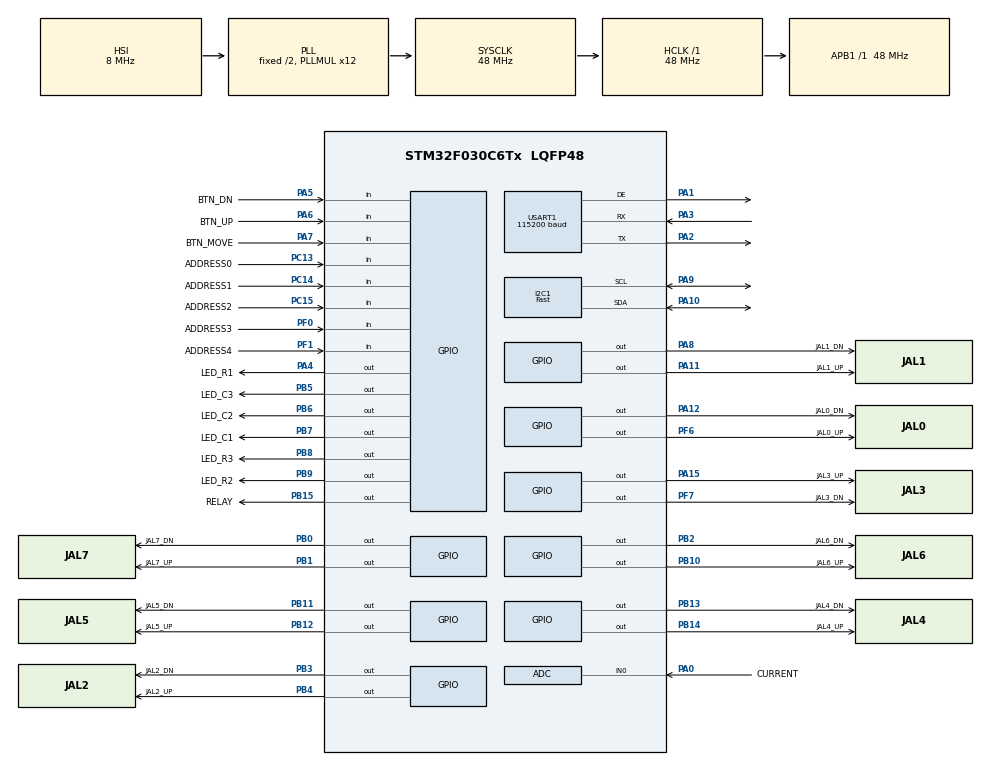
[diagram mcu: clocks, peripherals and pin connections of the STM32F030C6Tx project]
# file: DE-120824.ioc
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I2C1.I2C_Speed_Mode=I2C_Fast
I2C1.Timing=0x0010020A
Mcu.Family=STM32F0
Mcu.Name=STM32F030C6Tx
Mcu.Package=LQFP48
NVIC.TIM14_IRQn=true\:0\:0\:false\:false\:true\:true\:true\:true
NVIC.USART1_IRQn=true\:0\:0\:false\:false\:true\:true\:true\:true
PA0.GPIO_Label=CURRENT
PA0.Mode=IN0
PA0.Signal=ADC_IN0
PA1.Mode=Hardware Flow Control (RS485)
PA1.Signal=USART1_DE
PA10.Mode=I2C
PA10.Signal=I2C1_SDA
PA11.GPIO_Label=JAL1_UP
PA11.Signal=GPIO_Output
PA12.GPIO_Label=JAL0_DN
PA12.Signal=GPIO_Output
PA13.Mode=Serial_Wire
PA13.Signal=SYS_SWDIO
PA14.Mode=Serial_Wire
PA14.Signal=SYS_SWCLK
PA15.GPIO_Label=JAL3_UP
PA15.Signal=GPIO_Output
PA2.Mode=Asynchronous
PA2.Signal=USART1_TX
PA3.Mode=Asynchronous
PA3.Signal=USART1_RX
PA4.GPIO_Label=LED_R1
PA4.Signal=GPIO_Output
PA5.GPIO_Label=BTN_DN
PA5.GPIO_PuPd=GPIO_PULLUP
PA5.Signal=GPIO_Input
PA6.GPIO_Label=BTN_UP
PA6.GPIO_PuPd=GPIO_PULLUP
PA6.Signal=GPIO_Input
PA7.GPIO_Label=BTN_MOVE
PA7.GPIO_PuPd=GPIO_PULLUP
PA7.Signal=GPIO_Input
PA8.GPIO_Label=JAL1_DN
PA8.Signal=GPIO_Output
PA9.Mode=I2C
PA9.Signal=I2C1_SCL
PB0.GPIO_Label=JAL7_DN
PB0.Signal=GPIO_Output
PB1.GPIO_Label=JAL7_UP
PB1.Signal=GPIO_Output
PB10.GPIO_Label=JAL6_UP
PB10.Signal=GPIO_Output
PB11.GPIO_Label=JAL5_DN
PB11.Signal=GPIO_Output
PB12.GPIO_Label=JAL5_UP
PB12.Signal=GPIO_Output
PB13.GPIO_Label=JAL4_DN
PB13.Signal=GPIO_Output
PB14.GPIO_Label=JAL4_UP
PB14.Signal=GPIO_Output
PB15.GPIO_Label=RELAY
PB15.Signal=GPIO_Output
PB2.GPIO_Label=JAL6_DN
PB2.Signal=GPIO_Output
PB3.GPIO_Label=JAL2_DN
PB3.Signal=GPIO_Output
PB4.GPIO_Label=JAL2_UP
PB4.Signal=GPIO_Output
PB5.GPIO_Label=LED_C3
PB5.Signal=GPIO_Output
PB6.GPIO_Label=LED_C2
PB6.Signal=GPIO_Output
PB7.GPIO_Label=LED_C1
PB7.Signal=GPIO_Output
PB8.GPIO_Label=LED_R3
PB8.Signal=GPIO_Output
PB9.GPIO_Label=LED_R2
PB9.Signal=GPIO_Output
PC13.GPIO_Label=ADDRESS0
PC13.GPIO_PuPd=GPIO_PULLUP
PC13.Signal=GPIO_Input
PC14-OSC32_IN.GPIO_Label=ADDRESS1
PC14-OSC32_IN.GPIO_PuPd=GPIO_PULLUP
PC14-OSC32_IN.Signal=GPIO_Input
PC15-OSC32_OUT.GPIO_Label=ADDRESS2
PC15-OSC32_OUT.GPIO_PuPd=GPIO_PULLUP
PC15-OSC32_OUT.Signal=GPIO_Input
PF0-OSC_IN.GPIO_Label=ADDRESS3
PF0-OSC_IN.GPIO_PuPd=GPIO_PULLUP
PF0-OSC_IN.Signal=GPIO_Input
PF1-OSC_OUT.GPIO_Label=ADDRESS4
PF1-OSC_OUT.GPIO_PuPd=GPIO_PULLUP
PF1-OSC_OUT.Signal=GPIO_Input
PF6.GPIO_Label=JAL0_UP
PF6.Signal=GPIO_Output
PF7.GPIO_Label=JAL3_DN
PF7.Signal=GPIO_Output
ProjectManager.HeapSize=0x200
ProjectManager.StackSize=0x400
ProjectManager.TargetToolchain=MDK-ARM V5.32
RCC.AHBFreq_Value=48000000
RCC.APB1Freq_Value=48000000
RCC.APB1TimFreq_Value=48000000
RCC.HCLKFreq_Value=48000000
RCC.PLLMUL=RCC_PLL_MUL12
RCC.SYSCLKFreq_VALUE=48000000
RCC.SYSCLKSource=RCC_SYSCLKSOURCE_PLLCLK
TIM14.Period=5 - 1
TIM14.Prescaler=48000 - 1
USART1.BaudRate=115200
USART1.VirtualMode-Asynchronous=VM_ASYNC
USART1.VirtualMode-Hardware\ Flow\ Control\ (RS485)=VM_ASYNC
VP_IWDG_VS_IWDG.Mode=IWDG_Activate
VP_TIM14_VS_ClockSourceINT.Mode=Enable_Timer
board=custom

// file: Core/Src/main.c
/* USER CODE BEGIN Header */
/**
  ******************************************************************************
  * @file           : main.c
  * @brief          : Main program body
  ******************************************************************************
  * @attention
  *
  * Copyright (c) 2025 STMicroelectronics.
  * All rights reserved.
  *
  * This software is licensed under terms that can be found in the LICENSE file
  * in the root directory of this software component.
  * If no LICENSE file comes with this software, it is provided AS-IS.
  *
  ******************************************************************************
  */
/* USER CODE END Header */
#include "main.h"

/* USER CODE BEGIN Includes */
#include <stdio.h>
#include <string.h>
#include <stdarg.h>
#include <stdlib.h>
/* USER CODE END Includes */

/* USER CODE BEGIN PD */
// Definicije pinova
#define LED_ROWS 3
#define LED_COLS 3

// Definicije pinova
#define LED_R1_Pin GPIO_PIN_4
#define LED_R1_GPIO_Port GPIOA
#define LED_R2_Pin GPIO_PIN_9
#define LED_R2_GPIO_Port GPIOB
#define LED_R3_Pin GPIO_PIN_8
#define LED_R3_GPIO_Port GPIOB

#define LED_C1_Pin GPIO_PIN_7
#define LED_C1_GPIO_Port GPIOB
#define LED_C2_Pin GPIO_PIN_6
#define LED_C2_GPIO_Port GPIOB
#define LED_C3_Pin GPIO_PIN_5
#define LED_C3_GPIO_Port GPIOB

#define JALOUSIE_COUNT 8
#define TIMEOUT_DEFAULT 30000  // 30 sekundi u milisekundama
#define NUMBER_OF_JALOUSIE 8
#define LED_COUNT 9
#define SNAKE_LENGTH 43 // Du�ina zmije
#define SNAKE_SPEED 20   // Brzina zmije (veca vrednost = sporije)
#define MENU_TIMEOUT    10000 // 10 sekundi timeout
#define BUTTON_PAUSE    200 // dodatni debouncing
#define TOGGLE_INTERVAL 50 // Period treptanja LED
#define EEPROM_I2C_ADDR  0xA0  // Prilagodi prema tvojoj EEPROM adresi
#define EEPROM_TIMEOUT   100   // Timeout za I2C operacije
#define EEPROM_START_ADDR 0x00 // Početna adresa u EEPROM-u
/* USER CODE END PD */

ADC_HandleTypeDef hadc;

I2C_HandleTypeDef hi2c1;

IWDG_HandleTypeDef hiwdg;

TIM_HandleTypeDef htim14;

UART_HandleTypeDef huart1;

/* USER CODE BEGIN PV */

uint8_t jalousie[JALOUSIE_COUNT] = {0};           // Status žaluzina
uint32_t jalousie_tmr[JALOUSIE_COUNT] = {0};      // Tajmeri žaluzina
uint32_t jalousie_timeout[JALOUSIE_COUNT] = {TIMEOUT_DEFAULT, TIMEOUT_DEFAULT, TIMEOUT_DEFAULT, TIMEOUT_DEFAULT,
                                             TIMEOUT_DEFAULT, TIMEOUT_DEFAULT, TIMEOUT_DEFAULT, TIMEOUT_DEFAULT
                                            };

// Definicije GPIO izlaza za UP i DOWN
GPIO_TypeDef* jalousie_ports_up[JALOUSIE_COUNT] = {JAL0_UP_GPIO_Port, JAL1_UP_GPIO_Port, JAL2_UP_GPIO_Port, JAL3_UP_GPIO_Port,
                                                   JAL4_UP_GPIO_Port, JAL5_UP_GPIO_Port, JAL6_UP_GPIO_Port, JAL7_UP_GPIO_Port
                                                  };
uint16_t jalousie_pins_up[JALOUSIE_COUNT] = {JAL0_UP_Pin, JAL1_UP_Pin, JAL2_UP_Pin, JAL3_UP_Pin,
                                             JAL4_UP_Pin, JAL5_UP_Pin, JAL6_UP_Pin, JAL7_UP_Pin
                                            };

GPIO_TypeDef* jalousie_ports_down[JALOUSIE_COUNT] = {JAL0_DN_GPIO_Port, JAL1_DN_GPIO_Port, JAL2_DN_GPIO_Port, JAL3_DN_GPIO_Port,
                                                     JAL4_DN_GPIO_Port, JAL5_DN_GPIO_Port, JAL6_DN_GPIO_Port, JAL7_DN_GPIO_Port
                                                    };
uint16_t jalousie_pins_down[JALOUSIE_COUNT] = {JAL0_DN_Pin, JAL1_DN_Pin, JAL2_DN_Pin, JAL3_DN_Pin,
                                               JAL4_DN_Pin, JAL5_DN_Pin, JAL6_DN_Pin, JAL7_DN_Pin
                                              };

uint8_t led_state[LED_ROWS * LED_COLS] = {0};
uint8_t active_row = 0;

static uint8_t snake_head = 0;  // Trenutna glava zmije
static uint8_t snake_counter = 0;  // Brojac za usporavanje

volatile uint32_t menu_timer = 0;
volatile uint32_t last_toggle_time = 0;
volatile uint8_t toggle_state = 0;
volatile uint8_t menu_activ = 0;
volatile uint8_t selected_channel = NUMBER_OF_JALOUSIE - 1;
uint8_t button_select_prev = 0, button_up_prev = 0, button_down_prev = 0;
static uint8_t my_address = 0;
static uint8_t first_toggle = 1;
static uint16_t jalousie_start = 0;
static uint16_t jalousie_end = 0;
static uint8_t eesta = 0;
bool ee_save_flag = false;
uint8_t rec;
TinyFrame tfapp;
bool init_tf = false;
bool reset = false;
/* USER CODE END PV */

void SystemClock_Config(void);
static void MX_GPIO_Init(void);
static void MX_ADC_Init(void);
static void MX_I2C1_Init(void);
static void MX_IWDG_Init(void);
static void MX_USART1_UART_Init(void);
static void MX_TIM14_Init(void);
/* USER CODE BEGIN PFP */
static void RS485_Init(void);
static uint8_t ee_save(void);
static uint8_t ee_load(void);
static void ee_check(void);
/* USER CODE END PFP */

/* USER CODE BEGIN 0 */
/**
  * @brief  sačuvaj sve timoute u eeprom
  * @param
  * @retval 0 = uspješno / 1 = neuspješno, ako je neuspješno i eesta flag se setuje
  */
static uint8_t ee_save(void)
{
    uint8_t temp_value;

    for (uint8_t i = 0; i < JALOUSIE_COUNT; i++) {
        temp_value = (uint8_t)(jalousie_timeout[i] / 1000); // Konverzija u sekunde
        if (HAL_I2C_Mem_Write(&hi2c1, EEPROM_I2C_ADDR, EEPROM_START_ADDR + i, I2C_MEMADD_SIZE_8BIT, &temp_value, 1, EEPROM_TIMEOUT) != HAL_OK) {
            eesta = 1; // Greška pri upisu,nevalja eeprom, neki log ili retry mehanizam
            return 1;
        }
        HAL_Delay(10); // EEPROM često zahteva kratku pauzu nakon pisanja
    }
    return 0;
}
/**
  * @brief  kopiraj timout-e iz memorisanih u eeprom-u
  * @param
  * @retval 0 = uspješno / 1 = neuspješno, ako je neuspješno i eesta flag se setuje
  */
static uint8_t ee_load(void)
{
    uint8_t temp_value;

    for (uint8_t i = 0; i < JALOUSIE_COUNT; i++) {
        if (HAL_I2C_Mem_Read(&hi2c1, EEPROM_I2C_ADDR, EEPROM_START_ADDR + i, I2C_MEMADD_SIZE_8BIT, &temp_value, 1, EEPROM_TIMEOUT) == HAL_OK) {
            jalousie_timeout[i] = temp_value * 1000; // Konverzija u milisekunde
        } else {
            jalousie_timeout[i] = 0; // Ako čitanje ne uspije, postavi na 0
            eesta = 1; // nevalja eeprom
            return 1;
        }
    }
    return 0;
}
/**
  * @brief  periodična provjera eeproma zbog odgovora u tinyframe upitu
  * @param
  * @retval nema povratnog člana ali ostavlja eesta flag prema stanju eeproma
  */
static void ee_check(void)
{
    static uint32_t last_eeprom_check = 0;

    if(ee_save_flag ==  true)
    {
        ee_save();
        ee_save_flag = false;
    }
    // Na svakih 10 sekundi provjeri stanje eeproma
    if (HAL_GetTick() - last_eeprom_check > 10000) {
        ee_load();
        last_eeprom_check = HAL_GetTick();
    }
    // za slučaj neispravnog eeproma koristi defaultne vrijednosti timeouta
    if(eesta)
    {
        for (int i = 0; i < JALOUSIE_COUNT; i++)
        {
            jalousie_timeout[i] = 255 * 1000;
        }
    }
}
/**
  * @brief  podesi rs485 bus adresu uređaja i startnu i zadnju adresu žaluzine
  * @param
  * @retval nema
  */
void get_address(void)
{
    my_address = 0;
    if ((HAL_GPIO_ReadPin(ADDRESS0_GPIO_Port, ADDRESS0_Pin) == GPIO_PIN_RESET))   my_address |= 0x01;
    if ((HAL_GPIO_ReadPin(ADDRESS1_GPIO_Port, ADDRESS1_Pin) == GPIO_PIN_RESET))   my_address |= 0x02;
    if ((HAL_GPIO_ReadPin(ADDRESS2_GPIO_Port, ADDRESS2_Pin) == GPIO_PIN_RESET))   my_address |= 0x04;
    if ((HAL_GPIO_ReadPin(ADDRESS3_GPIO_Port, ADDRESS3_Pin) == GPIO_PIN_RESET))   my_address |= 0x08;
    if ((HAL_GPIO_ReadPin(ADDRESS4_GPIO_Port, ADDRESS4_Pin) == GPIO_PIN_RESET))   my_address |= 0x10;
    if(my_address)
    {
        jalousie_start = (NUMBER_OF_JALOUSIE*(my_address-1))+1;
        jalousie_end = jalousie_start + NUMBER_OF_JALOUSIE - 1;
    }
}
/**
  * @brief LED efekt za aktivan terminal meni
  * @param
  * @retval nema
  */
void update_snake(void)
{
    if (++snake_counter < SNAKE_SPEED) {
        return;  // Cekamo dok ne prode dovoljno ciklusa
    }
    snake_counter = 0;  // Reset brojaca

    // Ocisti prethodno stanje LED-ova
    for (uint8_t i = 0; i < 16; i++) {
        led_state[i] = 0;
    }

    // Podesi svetlece LED-ove
    for (uint8_t i = 0; i < SNAKE_LENGTH; i++) {
        int8_t pos = snake_head - i;
        if (pos < 0) pos += 16;  // Omogucava kru�no kretanje po matrici
        led_state[pos] = 1;  // Upali LED
    }

    // Pomeraj zmiju napred
    snake_head = (snake_head + 1) % 16;
}
/**
  * @brief LED efekt za start modula
  * @param
  * @retval nema
  */
void start_effect(void) {
    const uint8_t order[][2] = {
        {3, 4}, {2, 5}, {1, 6}, {0, 7}, // Paljenje (-1 poravnanje)
        {3, 4}, {2, 5}, {1, 6}, {0, 7}  // Gašenje (-1 poravnanje)
    };

    HAL_Delay(300);  // Početno kašnjenje

    // Sekvenca paljenja i gašenja LED-ova
    for (int i = 0; i < 8; i++) {
        // Uzimanje stanja iz led_state[] za svaki LED
        led_state[order[i][0]] = (i < 4) ? GPIO_PIN_SET : GPIO_PIN_RESET;
        led_state[order[i][1]] = (i < 4) ? GPIO_PIN_SET : GPIO_PIN_RESET;

        // Ovdje se stanje direktno postavlja u led_state[], bez GPIO poziva
        // Logika LED paljenja/gašenja prema led_state

        HAL_Delay(50);  // Čekanje za tajming efekta

#ifdef USE_WATCHDOG
        HAL_IWDG_Refresh(&hiwdg);  // Osvežavanje watchdog-a
#endif
    }
}

/**
  * @brief Logika žaluzina i tajmera sa timout-ima
  * @param
  * @retval nema
  */
void jalousie_control(void)
{
    uint32_t elapsed_ms = HAL_GetTick(); // Trenutni sistemski brojač (ms)

    for (uint8_t i = 0; i < JALOUSIE_COUNT; i++) {
        if (jalousie[i] == 1) {
            // Aktiviraj UP, deaktiviraj DOWN
            HAL_GPIO_WritePin(jalousie_ports_down[i], jalousie_pins_down[i], GPIO_PIN_RESET);
            HAL_Delay(20); // Pauza da se prethodni triak potpuno ugasi
            HAL_GPIO_WritePin(jalousie_ports_up[i], jalousie_pins_up[i], GPIO_PIN_SET);

            if (jalousie_tmr[i] == 0) { // Pokreni timer ako nije već pokrenut
                jalousie_tmr[i] = elapsed_ms;
            }
        }
        else if (jalousie[i] == 2) {
            // Aktiviraj DOWN, deaktiviraj UP
            HAL_GPIO_WritePin(jalousie_ports_up[i], jalousie_pins_up[i], GPIO_PIN_RESET);
            HAL_Delay(20); // Pauza da se prethodni triak potpuno ugasi
            HAL_GPIO_WritePin(jalousie_ports_down[i], jalousie_pins_down[i], GPIO_PIN_SET);

            if (jalousie_tmr[i] == 0) { // Pokreni timer ako nije već pokrenut
                jalousie_tmr[i] = elapsed_ms;
            }
        }
        else {
            // Isključi oba izlaza ne treba nikakva pauza
            HAL_GPIO_WritePin(jalousie_ports_up[i], jalousie_pins_up[i], GPIO_PIN_RESET);
            HAL_GPIO_WritePin(jalousie_ports_down[i], jalousie_pins_down[i], GPIO_PIN_RESET);
            jalousie_tmr[i] = 0; // Resetuj timer
        }

        // Provjeri timeout
        if (jalousie_tmr[i] && jalousie_timeout[i] && (elapsed_ms - jalousie_tmr[i] >= jalousie_timeout[i])) {
            jalousie[i] = 0; // Isključi žaluzinu
            jalousie_tmr[i] = 0; // Resetuj timer
        }
        if(jalousie_timeout[i] == 0) jalousie_tmr[i] = 0; // Resetuj timer ako je timeout setovan za on/off kontrolu
    }
}
/**
  * @brief Kopiraj izlaze triaka na LED-ove prednjeg panela
  * @param
  * @retval nema
  */
void refresh_led(void)
{
    // Samo kopiraj izlaze na LED
    for (uint8_t i = 0; i < NUMBER_OF_JALOUSIE; i++)
    {
        led_state[i] = jalousie[i];
    }
}
/**
  * @brief Funkcija za osvježavanje LED matrice svakih ~5ms
  * @param
  * @retval nema
  */
void refresh_led_matrix(void)
{
    // Isključi trenutno aktivni red
    HAL_GPIO_WritePin(LED_R1_GPIO_Port, LED_R1_Pin, GPIO_PIN_RESET);
    HAL_GPIO_WritePin(LED_R2_GPIO_Port, LED_R2_Pin, GPIO_PIN_RESET);
    HAL_GPIO_WritePin(LED_R3_GPIO_Port, LED_R3_Pin, GPIO_PIN_RESET);

    // Isključi sve kolone prije uključivanja reda
    HAL_GPIO_WritePin(LED_C1_GPIO_Port, LED_C1_Pin, GPIO_PIN_SET);
    HAL_GPIO_WritePin(LED_C2_GPIO_Port, LED_C2_Pin, GPIO_PIN_SET);
    HAL_GPIO_WritePin(LED_C3_GPIO_Port, LED_C3_Pin, GPIO_PIN_SET);

    // Aktiviraj sledeći red
    switch (active_row) {
    case 0:
        HAL_GPIO_WritePin(LED_R1_GPIO_Port, LED_R1_Pin, GPIO_PIN_SET);
        break;
    case 1:
        HAL_GPIO_WritePin(LED_R2_GPIO_Port, LED_R2_Pin, GPIO_PIN_SET);
        break;
    case 2:
        HAL_GPIO_WritePin(LED_R3_GPIO_Port, LED_R3_Pin, GPIO_PIN_SET);
        break;
    }

    // Postavi kolone na osnovu led_state[]
    for (uint8_t col = 0; col < LED_COLS; col++) {
        uint8_t index = active_row * LED_COLS + col;
        if (led_state[index]) {
            switch (col) {
            case 0:
                HAL_GPIO_WritePin(LED_C1_GPIO_Port, LED_C1_Pin, GPIO_PIN_RESET);
                break;
            case 1:
                HAL_GPIO_WritePin(LED_C2_GPIO_Port, LED_C2_Pin, GPIO_PIN_RESET);
                break;
            case 2:
                HAL_GPIO_WritePin(LED_C3_GPIO_Port, LED_C3_Pin, GPIO_PIN_RESET);
                break;
            }
        }
    }

    // Prebaci na sledeći red
    active_row = (active_row + 1) % LED_ROWS;
}
/**
  * @brief Funkcija za procesiranje tastera prednjeg panela
  * @param
  * @retval nema
  */
void handle_buttons(void)
{
    uint32_t current_time = HAL_GetTick();
    uint8_t button_select = HAL_GPIO_ReadPin(BTN_MOVE_GPIO_Port, BTN_MOVE_Pin);
    uint8_t button_up = HAL_GPIO_ReadPin(BTN_UP_GPIO_Port, BTN_UP_Pin);
    uint8_t button_down = HAL_GPIO_ReadPin(BTN_DN_GPIO_Port, BTN_DN_Pin);

    if (button_select == GPIO_PIN_RESET) {
        if (!button_select_prev) {
            button_select_prev = 1; // lock press time load
            menu_activ = 1;
            toggle_state = 0;
            first_toggle = 1;  // Resetuj first_toggle ako se resetuje meni
            if(++selected_channel >= NUMBER_OF_JALOUSIE) selected_channel = 0;
            menu_timer = current_time + MENU_TIMEOUT;
            refresh_led();
            get_address();
            HAL_Delay(BUTTON_PAUSE);
        }
    }
    else if ((button_select == GPIO_PIN_SET) && button_select_prev)
    {
        button_select_prev = 0;
        HAL_Delay(BUTTON_PAUSE);
        refresh_led();
    }

    if (menu_activ && (button_up == GPIO_PIN_RESET)) {
        if (!button_up_prev) {
            button_up_prev = 1; // lock press time load
            jalousie[selected_channel] = (jalousie[selected_channel] == 0) ? 1 : 0;
            toggle_state = jalousie[selected_channel]; // Ažuriraj toggle_state
            HAL_Delay(BUTTON_PAUSE);
        }
        menu_timer = current_time + MENU_TIMEOUT;
    }
    else if ((button_up == GPIO_PIN_SET) && button_up_prev)
    {
        button_up_prev = 0; // release button press
        HAL_Delay(BUTTON_PAUSE);
    }

    if (menu_activ && (button_down == GPIO_PIN_RESET)) {
        if (!button_down_prev) {
            button_down_prev = 1; // lock press time load
            jalousie[selected_channel] = (jalousie[selected_channel] == 0) ? 2 : 0;
            toggle_state = jalousie[selected_channel]; // Ažuriraj toggle_state
            HAL_Delay(BUTTON_PAUSE);
        }
        menu_timer = current_time + MENU_TIMEOUT;
    }
    else if ((button_down == GPIO_PIN_SET) && button_down_prev)
    {
        button_down_prev = 0; // release button press
        HAL_Delay(BUTTON_PAUSE);
    }
}
/**
  * @brief  Jednostavan meni za podešavanje stanja izlaza sa razlicitim odnosom pauze i signala
  *         odabrane LED prema stanju izlaza kraci signal duža pauza za iskljucen izlaz
  * @retval None
  */
void menu_logic(void)
{
    uint32_t current_time = HAL_GetTick();

    // Resetujemo meni ako istekne vrijeme
    if (current_time > menu_timer) {
        selected_channel = NUMBER_OF_JALOUSIE - 1;
        menu_activ = 0;
        toggle_state = 0;
        first_toggle = 1;  // Resetuj first_toggle ako se resetuje meni
        refresh_led();
    }

    // Definiši vremenske intervale zavisno od jalousie_states
    uint32_t on_time, off_time;
    if (jalousie[selected_channel] == 1) {
        on_time = TOGGLE_INTERVAL * 10;  // LED ON duže
        off_time = TOGGLE_INTERVAL;     // LED OFF kraće
    } else if (jalousie[selected_channel] == 2) {
        on_time = TOGGLE_INTERVAL;      // LED ON duže
        off_time = TOGGLE_INTERVAL * 10; // LED OFF kraće
    }  else {
        on_time = TOGGLE_INTERVAL;      // LED ON jednako
        off_time = TOGGLE_INTERVAL; // LED OFF jednako
    }

    // Pri prvom ulasku postavi početno stanje
    if (first_toggle) {
        toggle_state = jalousie[selected_channel]; // Ako je triac_state 1, LED počinje upaljena
        last_toggle_time = current_time;  // Resetujemo timer
        first_toggle = 0; // Obilježimo da više nije prvi ulazak
    }

    // Odredi trenutno trajanje na osnovu toggle_state
    uint32_t toggle_period = toggle_state ? on_time : off_time;

    // Ako je prošao period, promjeni stanje
    if (current_time - last_toggle_time >= toggle_period) {
        toggle_state = !toggle_state;
        led_state[selected_channel] = toggle_state;  // Direktno ažuriranje LED stanja
        last_toggle_time = current_time;
    }

}

/* USER CODE END 0 */

int main(void)
{

    /* MCU Configuration--------------------------------------------------------*/

    /* Reset of all peripherals, Initializes the Flash interface and the Systick. */
    HAL_Init();

    /* Configure the system clock */
    SystemClock_Config();

    /* Initialize all configured peripherals */
    MX_GPIO_Init();
    MX_ADC_Init();
    MX_I2C1_Init();
    MX_IWDG_Init();
    MX_USART1_UART_Init();
    MX_TIM14_Init();
    /* USER CODE BEGIN 2 */
    RS485_Init();
    eesta = 0; // Reset statusa EEPROM-a
    ee_load(); // Prvo učitavanje
    get_address();
    start_effect();
    start_effect();
    start_effect();
    /* USER CODE END 2 */

    /* Infinite loop */
    /* USER CODE BEGIN WHILE */
    while (1)
    {
        if(reset == true) Error_Handler(); // reset je iskan učini tako
        handle_buttons();
        menu_logic();
        /* USER CODE END WHILE */

        /* USER CODE BEGIN 3 */
        jalousie_control();
        ee_check(); // refrešuj eeprom

#ifdef USE_WATCHDOG
        HAL_IWDG_Refresh(&hiwdg);
#endif
    }
    /* USER CODE END 3 */
}

void SystemClock_Config(void)
{
    RCC_OscInitTypeDef RCC_OscInitStruct = {0};
    RCC_ClkInitTypeDef RCC_ClkInitStruct = {0};
    RCC_PeriphCLKInitTypeDef PeriphClkInit = {0};

    /** Initializes the RCC Oscillators according to the specified parameters
    * in the RCC_OscInitTypeDef structure.
    */
    RCC_OscInitStruct.OscillatorType = RCC_OSCILLATORTYPE_HSI|RCC_OSCILLATORTYPE_HSI14
                                       |RCC_OSCILLATORTYPE_LSI;
    RCC_OscInitStruct.HSIState = RCC_HSI_ON;
    RCC_OscInitStruct.HSI14State = RCC_HSI14_ON;
    RCC_OscInitStruct.HSICalibrationValue = RCC_HSICALIBRATION_DEFAULT;
    RCC_OscInitStruct.HSI14CalibrationValue = 16;
    RCC_OscInitStruct.LSIState = RCC_LSI_ON;
    RCC_OscInitStruct.PLL.PLLState = RCC_PLL_ON;
    RCC_OscInitStruct.PLL.PLLSource = RCC_PLLSOURCE_HSI;
    RCC_OscInitStruct.PLL.PLLMUL = RCC_PLL_MUL12;
    RCC_OscInitStruct.PLL.PREDIV = RCC_PREDIV_DIV1;
    if (HAL_RCC_OscConfig(&RCC_OscInitStruct) != HAL_OK)
    {
        Error_Handler();
    }

    /** Initializes the CPU, AHB and APB buses clocks
    */
    RCC_ClkInitStruct.ClockType = RCC_CLOCKTYPE_HCLK|RCC_CLOCKTYPE_SYSCLK
                                  |RCC_CLOCKTYPE_PCLK1;
    RCC_ClkInitStruct.SYSCLKSource = RCC_SYSCLKSOURCE_PLLCLK;
    RCC_ClkInitStruct.AHBCLKDivider = RCC_SYSCLK_DIV1;
    RCC_ClkInitStruct.APB1CLKDivider = RCC_HCLK_DIV1;

    if (HAL_RCC_ClockConfig(&RCC_ClkInitStruct, FLASH_LATENCY_1) != HAL_OK)
    {
        Error_Handler();
    }
    PeriphClkInit.PeriphClockSelection = RCC_PERIPHCLK_USART1|RCC_PERIPHCLK_I2C1;
    PeriphClkInit.Usart1ClockSelection = RCC_USART1CLKSOURCE_PCLK1;
    PeriphClkInit.I2c1ClockSelection = RCC_I2C1CLKSOURCE_HSI;
    if (HAL_RCCEx_PeriphCLKConfig(&PeriphClkInit) != HAL_OK)
    {
        Error_Handler();
    }
}

static void MX_ADC_Init(void)
{

    ADC_ChannelConfTypeDef sConfig = {0};

    /** Configure the global features of the ADC (Clock, Resolution, Data Alignment and number of conversion)
    */
    hadc.Instance = ADC1;
    hadc.Init.ClockPrescaler = ADC_CLOCK_ASYNC_DIV1;
    hadc.Init.Resolution = ADC_RESOLUTION_12B;
    hadc.Init.DataAlign = ADC_DATAALIGN_RIGHT;
    hadc.Init.ScanConvMode = ADC_SCAN_DIRECTION_FORWARD;
    hadc.Init.EOCSelection = ADC_EOC_SINGLE_CONV;
    hadc.Init.LowPowerAutoWait = DISABLE;
    hadc.Init.LowPowerAutoPowerOff = DISABLE;
    hadc.Init.ContinuousConvMode = DISABLE;
    hadc.Init.DiscontinuousConvMode = DISABLE;
    hadc.Init.ExternalTrigConv = ADC_SOFTWARE_START;
    hadc.Init.ExternalTrigConvEdge = ADC_EXTERNALTRIGCONVEDGE_NONE;
    hadc.Init.DMAContinuousRequests = DISABLE;
    hadc.Init.Overrun = ADC_OVR_DATA_PRESERVED;
    if (HAL_ADC_Init(&hadc) != HAL_OK)
    {
        Error_Handler();
    }

    /** Configure for the selected ADC regular channel to be converted.
    */
    sConfig.Channel = ADC_CHANNEL_0;
    sConfig.Rank = ADC_RANK_CHANNEL_NUMBER;
    sConfig.SamplingTime = ADC_SAMPLETIME_1CYCLE_5;
    if (HAL_ADC_ConfigChannel(&hadc, &sConfig) != HAL_OK)
    {
        Error_Handler();
    }

}

static void MX_I2C1_Init(void)
{

    hi2c1.Instance = I2C1;
    hi2c1.Init.Timing = 0x0010020A;
    hi2c1.Init.OwnAddress1 = 0;
    hi2c1.Init.AddressingMode = I2C_ADDRESSINGMODE_7BIT;
    hi2c1.Init.DualAddressMode = I2C_DUALADDRESS_DISABLE;
    hi2c1.Init.OwnAddress2 = 0;
    hi2c1.Init.OwnAddress2Masks = I2C_OA2_NOMASK;
    hi2c1.Init.GeneralCallMode = I2C_GENERALCALL_DISABLE;
    hi2c1.Init.NoStretchMode = I2C_NOSTRETCH_DISABLE;
    if (HAL_I2C_Init(&hi2c1) != HAL_OK)
    {
        Error_Handler();
    }

    /** Configure Analogue filter
    */
    if (HAL_I2CEx_ConfigAnalogFilter(&hi2c1, I2C_ANALOGFILTER_ENABLE) != HAL_OK)
    {
        Error_Handler();
    }

    /** Configure Digital filter
    */
    if (HAL_I2CEx_ConfigDigitalFilter(&hi2c1, 0) != HAL_OK)
    {
        Error_Handler();
    }

}

static void MX_IWDG_Init(void)
{

    /* USER CODE BEGIN IWDG_Init 0 */
#ifdef USE_WATCHDOG
    /* USER CODE END IWDG_Init 0 */

    hiwdg.Instance = IWDG;
    hiwdg.Init.Prescaler = IWDG_PRESCALER_32;
    hiwdg.Init.Window = 4095;
    hiwdg.Init.Reload = 4095;
    if (HAL_IWDG_Init(&hiwdg) != HAL_OK)
    {
        Error_Handler();
    }
    /* USER CODE BEGIN IWDG_Init 2 */
#endif
    /* USER CODE END IWDG_Init 2 */

}

static void MX_TIM14_Init(void)
{

    htim14.Instance = TIM14;
    htim14.Init.Prescaler = 48000 - 1;
    htim14.Init.CounterMode = TIM_COUNTERMODE_UP;
    htim14.Init.Period = 5 - 1;
    htim14.Init.ClockDivision = TIM_CLOCKDIVISION_DIV1;
    htim14.Init.AutoReloadPreload = TIM_AUTORELOAD_PRELOAD_DISABLE;
    if (HAL_TIM_Base_Init(&htim14) != HAL_OK)
    {
        Error_Handler();
    }
    /* USER CODE BEGIN TIM14_Init 2 */
    HAL_TIM_Base_Start_IT(&htim14);
    /* USER CODE END TIM14_Init 2 */

}

static void MX_USART1_UART_Init(void)
{

    huart1.Instance = USART1;
    huart1.Init.BaudRate = 115200;
    huart1.Init.WordLength = UART_WORDLENGTH_8B;
    huart1.Init.StopBits = UART_STOPBITS_1;
    huart1.Init.Parity = UART_PARITY_NONE;
    huart1.Init.Mode = UART_MODE_TX_RX;
    huart1.Init.HwFlowCtl = UART_HWCONTROL_NONE;
    huart1.Init.OverSampling = UART_OVERSAMPLING_16;
    huart1.Init.OneBitSampling = UART_ONE_BIT_SAMPLE_DISABLE;
    huart1.AdvancedInit.AdvFeatureInit = UART_ADVFEATURE_NO_INIT;
    if (HAL_RS485Ex_Init(&huart1, UART_DE_POLARITY_HIGH, 0, 0) != HAL_OK)
    {
        Error_Handler();
    }

}

static void MX_GPIO_Init(void)
{
    GPIO_InitTypeDef GPIO_InitStruct = {0};

    /* GPIO Ports Clock Enable */
    __HAL_RCC_GPIOC_CLK_ENABLE();
    __HAL_RCC_GPIOF_CLK_ENABLE();
    __HAL_RCC_GPIOA_CLK_ENABLE();
    __HAL_RCC_GPIOB_CLK_ENABLE();

    /*Configure GPIO pin Output Level */
    HAL_GPIO_WritePin(GPIOA, LED_R1_Pin|JAL1_DN_Pin|JAL1_UP_Pin|JAL0_DN_Pin
                      |JAL3_UP_Pin, GPIO_PIN_RESET);

    /*Configure GPIO pin Output Level */
    HAL_GPIO_WritePin(GPIOB, JAL7_DN_Pin|JAL7_UP_Pin|JAL6_DN_Pin|JAL6_UP_Pin
                      |JAL5_DN_Pin|JAL5_UP_Pin|JAL4_DN_Pin|JAL4_UP_Pin
                      |RELAY_Pin|JAL2_DN_Pin|JAL2_UP_Pin|LED_C3_Pin
                      |LED_C2_Pin|LED_C1_Pin|LED_R3_Pin|LED_R2_Pin, GPIO_PIN_RESET);

    /*Configure GPIO pin Output Level */
    HAL_GPIO_WritePin(GPIOF, JAL0_UP_Pin|JAL3_DN_Pin, GPIO_PIN_RESET);

    /*Configure GPIO pins : ADDRESS0_Pin ADDRESS1_Pin ADDRESS2_Pin */
    GPIO_InitStruct.Pin = ADDRESS0_Pin|ADDRESS1_Pin|ADDRESS2_Pin;
    GPIO_InitStruct.Mode = GPIO_MODE_INPUT;
    GPIO_InitStruct.Pull = GPIO_PULLUP;
    HAL_GPIO_Init(GPIOC, &GPIO_InitStruct);

    /*Configure GPIO pins : ADDRESS3_Pin ADDRESS4_Pin */
    GPIO_InitStruct.Pin = ADDRESS3_Pin|ADDRESS4_Pin;
    GPIO_InitStruct.Mode = GPIO_MODE_INPUT;
    GPIO_InitStruct.Pull = GPIO_PULLUP;
    HAL_GPIO_Init(GPIOF, &GPIO_InitStruct);

    /*Configure GPIO pins : LED_R1_Pin JAL1_DN_Pin JAL1_UP_Pin JAL0_DN_Pin
                             JAL3_UP_Pin */
    GPIO_InitStruct.Pin = LED_R1_Pin|JAL1_DN_Pin|JAL1_UP_Pin|JAL0_DN_Pin
                          |JAL3_UP_Pin;
    GPIO_InitStruct.Mode = GPIO_MODE_OUTPUT_PP;
    GPIO_InitStruct.Pull = GPIO_NOPULL;
    GPIO_InitStruct.Speed = GPIO_SPEED_FREQ_LOW;
    HAL_GPIO_Init(GPIOA, &GPIO_InitStruct);

    /*Configure GPIO pins : BTN_DN_Pin BTN_UP_Pin BTN_MOVE_Pin */
    GPIO_InitStruct.Pin = BTN_DN_Pin|BTN_UP_Pin|BTN_MOVE_Pin;
    GPIO_InitStruct.Mode = GPIO_MODE_INPUT;
    GPIO_InitStruct.Pull = GPIO_PULLUP;
    HAL_GPIO_Init(GPIOA, &GPIO_InitStruct);

    /*Configure GPIO pins : JAL7_DN_Pin JAL7_UP_Pin JAL6_DN_Pin JAL6_UP_Pin
                             JAL5_DN_Pin JAL5_UP_Pin JAL4_DN_Pin JAL4_UP_Pin
                             RELAY_Pin JAL2_DN_Pin JAL2_UP_Pin LED_C3_Pin
                             LED_C2_Pin LED_C1_Pin LED_R3_Pin LED_R2_Pin */
    GPIO_InitStruct.Pin = JAL7_DN_Pin|JAL7_UP_Pin|JAL6_DN_Pin|JAL6_UP_Pin
                          |JAL5_DN_Pin|JAL5_UP_Pin|JAL4_DN_Pin|JAL4_UP_Pin
                          |RELAY_Pin|JAL2_DN_Pin|JAL2_UP_Pin|LED_C3_Pin
                          |LED_C2_Pin|LED_C1_Pin|LED_R3_Pin|LED_R2_Pin;
    GPIO_InitStruct.Mode = GPIO_MODE_OUTPUT_PP;
    GPIO_InitStruct.Pull = GPIO_NOPULL;
    GPIO_InitStruct.Speed = GPIO_SPEED_FREQ_LOW;
    HAL_GPIO_Init(GPIOB, &GPIO_InitStruct);

    /*Configure GPIO pins : JAL0_UP_Pin JAL3_DN_Pin */
    GPIO_InitStruct.Pin = JAL0_UP_Pin|JAL3_DN_Pin;
    GPIO_InitStruct.Mode = GPIO_MODE_OUTPUT_PP;
    GPIO_InitStruct.Pull = GPIO_NOPULL;
    GPIO_InitStruct.Speed = GPIO_SPEED_FREQ_LOW;
    HAL_GPIO_Init(GPIOF, &GPIO_InitStruct);

}

/* USER CODE BEGIN 4 */
// Timer interrupt callback
void HAL_TIM_PeriodElapsedCallback(TIM_HandleTypeDef *htim) {
    if (htim->Instance == TIM14) {
//        if(start_effect == true) update_snake();  // Ažuriraj stanje zmije ako je mod podešavanja aktivan
        refresh_led_matrix();
    }
}
/**
  * @brief  podesi timout žaluzine trajno
  * @param
  * @retval
  */
TF_Result JALOUSIE_SETUP_Listener(TinyFrame *tf, TF_Msg *msg)
{
    uint16_t adr = (uint16_t)(msg->data[0] << 8) | msg->data[1];  // Kombinacija dva bajta u adresu
    uint8_t idx = adr - jalousie_start;  // Izračunavanje indeksa žaluzine
    uint8_t ret[4]; // Niz za vracanje stanja

    // Proveravamo da li je adresa unutar opsega jalousie_start i jalousie_end
    if (adr && my_address && (adr >= jalousie_start) && (adr <= jalousie_end)) {
        if(eesta == 0) { // provjeri stanje eeproma
            jalousie_timeout[idx] = (uint32_t)msg->data[2] * 1000; // podesi timeout u milisekundama
            ee_save_flag = true; // setuj flag za upis eeproma
        } else jalousie_timeout[idx] = 255 * 1000; // defaultna vrijednost ako eeprom ima problem
        ret[0] = msg->data[0];
        ret[1] = msg->data[1];
        ret[2] = jalousie_timeout[idx] / 1000;  // vrati timeout u sekundama
        ret[3] = (eesta == 0) ? ACK : NAK; // odgovor ovisi od zadnje provjere stanja eeproma
        msg->data = ret;  // Postavljamo novi niz za odgovor
        msg->len = 4;  // Dužina odgovora je 4 bajta
        TF_Respond(tf, msg);  // Odgovaramo sa novim stanjem
    }
    return TF_STAY;  // Održavanje trenutnog stanja
}
/**
  * @brief Podesi novo stanje žaluzine
  * @param
  * @retval stanje žaluzine, timeout žaluzine, ACK
  */
TF_Result JALOUSIE_SET_Listener(TinyFrame *tf, TF_Msg *msg)
{
    uint16_t adr = (uint16_t)(msg->data[0] << 8) | msg->data[1];  // Kombinacija dva bajta u adresu
    uint8_t idx = adr - jalousie_start;  // Izračunavanje indeksa žaluzine
    uint8_t ret[4]; // Niz za vracanje stanja

    // Proveravamo da li je adresa unutar opsega rel_start i rel_end
    if (adr && my_address && (adr >= jalousie_start) && (adr <= jalousie_end)) {
        jalousie[idx] = (msg->data[2] < 3) ? msg->data[2] : 0;  // Novo stanje izlaza žaluzine
        refresh_led(); // pokaži i na front panelu
        ret[0] = msg->data[0];
        ret[1] = msg->data[1];
        ret[2] = jalousie[idx]; // Vracamo stanje žaluzine na toj adresi
        ret[3] = (msg->data[2] < 3) ? ACK : NAK; // Reaguj na pogrešan podatak
        msg->data = ret;  // Postavljamo novi niz za odgovor
        msg->len = 4;  // Dužina odgovora je 4 bajta
        TF_Respond(tf, msg);  // Odgovaramo sa novim stanjem
    }

    return TF_STAY;  // Održavanje trenutnog stanja
}
/**
  * @brief  Odgovori na zahtjev za stanje žaluzine
  * @param
  * @retval
  */
TF_Result JALOUSIE_GET_Listener(TinyFrame *tf, TF_Msg *msg)
{
    uint16_t adr = (uint16_t)(msg->data[0] << 8) | msg->data[1];  // Kombinacija dva bajta u adresu
    uint8_t idx = adr - jalousie_start;  // Izračunavanje indeksa žaluzine
    uint8_t ret[4]; // Niz za vracanje stanja

    // Provjeravamo da li je adresa unutar opsega jalousie_start i jalousie_end
    if (adr && my_address && (adr >= jalousie_start) && (adr <= jalousie_end)) {
        ret[0] = msg->data[0];
        ret[1] = msg->data[1];
        ret[2] = jalousie[idx]; // Vracamo stanje žaluzine na toj adresi
        ret[3] = jalousie_timeout[idx] / 1000;  // vrati timeout u sekundama
        msg->data = ret;  // Postavljamo novi niz za odgovor
        msg->len = 4;  // Dužina odgovora je 4 bajta
        TF_Respond(tf, msg);  // Odgovaramo sa novim stanjem
    }

    return TF_STAY;  // Održavanje trenutnog stanja
}
/**
  * @brief  // softverski restart modula žaluzina čiji je adresirani izlaza žaluzine
  * @param
  * @retval
  */
TF_Result JALOUSIE_RESET_Listener(TinyFrame *tf, TF_Msg *msg)
{
    uint16_t adr = (uint16_t)(msg->data[0] << 8) | msg->data[1];  // Kombinacija dva bajta u adresu
    uint8_t idx = adr - jalousie_start;  // Izračunavanje indeksa žaluzine
    uint8_t ret[3]; // Niz za vracanje stanja

    // Proveravamo da li je adresa unutar opsega jalousie_start i jalousie_end
    if (adr && my_address && (adr >= jalousie_start) && (adr <= jalousie_end)) {
        reset = true;  // koristimo flag za reset umjesto da odmah ovdje restartujemo modul bez odgovora na komandu
        ret[0] = msg->data[0];
        ret[1] = msg->data[1];
        ret[2] = ACK; // odgovor ovisi od zadnje provjere stanja eeproma
        msg->data = ret;  // Postavljamo novi niz za odgovor
        msg->len = 3;  // Dužina odgovora je 3 bajta
        TF_Respond(tf, msg);  // Odgovaramo sa novim stanjem
    }
    return TF_STAY;  // Održavanje trenutnog stanja
}
/**
  * @brief
  * @param
  * @retval
  */
void RS485_Init(void)
{
    if(!init_tf) {
        init_tf = TF_InitStatic(&tfapp, TF_SLAVE);
        TF_AddTypeListener(&tfapp, JALOUSIE_GET, JALOUSIE_GET_Listener);
        TF_AddTypeListener(&tfapp, JALOUSIE_SET, JALOUSIE_SET_Listener);
        TF_AddTypeListener(&tfapp, JALOUSIE_SETUP, JALOUSIE_SETUP_Listener);
        TF_AddTypeListener(&tfapp, JALOUSIE_RESET, JALOUSIE_RESET_Listener);
    }
    HAL_UART_Receive_IT(&huart1, &rec, 1);
}
/**
  * @brief
  * @param
  * @retval
  */
void RS485_Tick(void)
{
    if (init_tf == true) {
        TF_Tick(&tfapp);
    }
}
/**
  * @brief
  * @param
  * @retval
  */
void TF_WriteImpl(TinyFrame *tf, const uint8_t *buff, uint32_t len)
{
    HAL_UART_Transmit(&huart1,(uint8_t*)buff, len, RESP_TOUT);
    HAL_UART_Receive_IT(&huart1, &rec, 1);
}
/**
  * @brief
  * @param
  * @retval
  */
void HAL_UART_RxCpltCallback(UART_HandleTypeDef *huart)
{
    TF_AcceptChar(&tfapp, rec);
    HAL_UART_Receive_IT(&huart1, &rec, 1);
}
/**
  * @brief
  * @param
  * @retval
  */
void HAL_UART_TxCpltCallback(UART_HandleTypeDef *huart)
{
}
/**
  * @brief
  * @param
  * @retval
  */
void HAL_UART_ErrorCallback(UART_HandleTypeDef *huart)
{
    __HAL_UART_CLEAR_PEFLAG(&huart1);
    __HAL_UART_CLEAR_FEFLAG(&huart1);
    __HAL_UART_CLEAR_NEFLAG(&huart1);
    __HAL_UART_CLEAR_IDLEFLAG(&huart1);
    __HAL_UART_CLEAR_OREFLAG(&huart1);
    HAL_UART_AbortReceive(&huart1);
    HAL_UART_Receive_IT(&huart1, &rec, 1);
}

/* USER CODE END 4 */

void Error_Handler(void)
{
    /* USER CODE BEGIN Error_Handler_Debug */
    /* User can add his own implementation to report the HAL error return state */
    __disable_irq();
    HAL_ADC_MspDeInit(&hadc);
    HAL_I2C_MspDeInit(&hi2c1);
    HAL_TIM_Base_MspDeInit(&htim14);
    HAL_UART_MspDeInit(&huart1);
    while (1)
    {
        HAL_NVIC_SystemReset();
    }
    /* USER CODE END Error_Handler_Debug */
}
